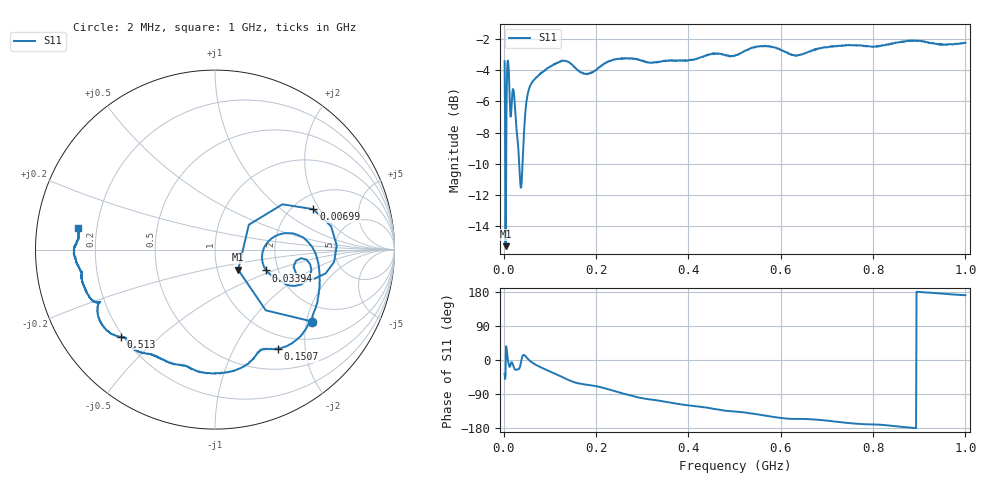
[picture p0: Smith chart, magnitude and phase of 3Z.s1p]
!Keysight Technologies N9923A: A.08.19
!Date: Thursday, 16 January 2020 11:30:00
!TimeZone: (GMT-03:00) Brasilia!Model: N9923A
!Serial: MY51491501
!GPS Latitude:
!GPS Longitude:
!GPS TimeStamp: 0001-01-01 00:00:00Z
!GPS Seconds Since Last Read: 0
!CHECKSUM:1078980270
!Correction: S11(ON U)
!S1P File: Measurement: S11:
# Hz S DB R 50
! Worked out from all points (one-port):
!   1001 points, 2 MHz to 1 GHz, reference 50 ohm
!   lowest |S11| = -15.3 dB at 3.996 MHz (marker M1), VSWR 1.41, Z = 63 - j14.6 ohm
!   |S11| at or under -10 dB: 3.35 MHz to 5.45 MHz (2.1 MHz wide, 47.7 % of centre); 33.57 MHz to 40.85 MHz (7.275 MHz wide, 19.6 % of centre)
!   S11 on the Smith chart (normalised r, x): 2 MHz: 1.47, -2.17; 6.99 MHz: 2.54, +1.76; 33.94 MHz: 1.73, -0.44; 150.7 MHz: 0.78, -1.51; 513 MHz: 0.19, -0.38; 1 GHz: 0.13, +0.08
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2000000  -3.41 -36.5
3996000  -15.31 -41.1
6990000  -4.55 22.3
8986000  -3.37 1.9
9984000  -3.51 -5.9
1.198e7  -4.76 -16.3
2.2958e7  -5.73 -22.1
2.7948e7  -7.86 -25.5
3.3936e7  -10.22 -22.1
3.8926e7  -11.20 3.1
4.691e7  -6.69 10.4
5.5892e7  -5.10 -1.3
6.9864e7  -4.48 -12.9
9.7808e7  -3.82 -29.1
1.2675e8  -3.39 -44.7
1.50702e8  -3.70 -57.8
1.88626e8  -4.13 -66.8
2.515e8  -3.25 -86.1
2.97408e8  -3.36 -100.1
3.7625e8  -3.36 -115.8
5.01e8  -3.06 -135.9
5.12976e8  -2.91 -137.3
5.73854e8  -2.45 -148.1
6.2575e8  -3.02 -155.5
6.79642e8  -2.60 -157.5
7.505e8  -2.37 -166.6
8.7525e8  -2.10 -177.8
1e9  -2.23 171.0
